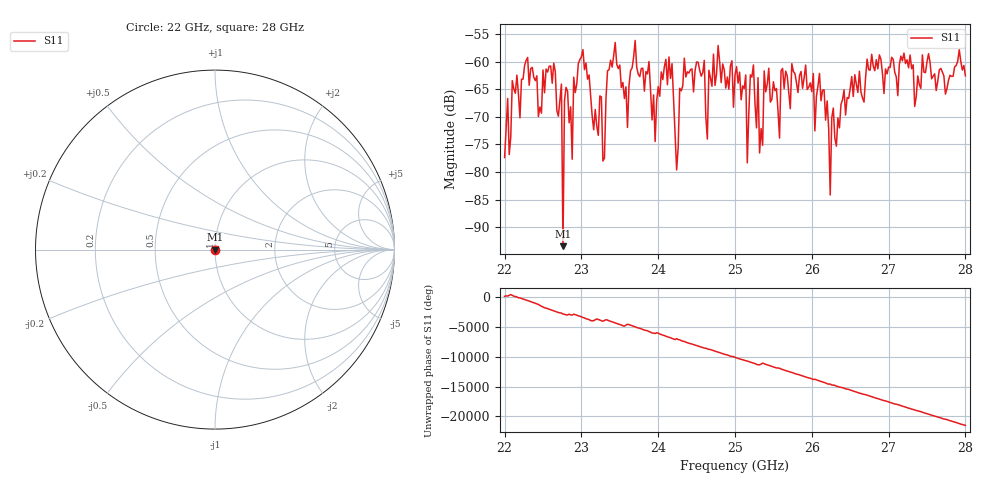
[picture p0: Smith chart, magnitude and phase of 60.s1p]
#  HZ  S  RI  R  50.00
! Rohde & Schwarz ZVA40 4Ports - Version 3.90 - 1145.1110k42 SN: 100403
! Date: 2023-10-04 11:20:29
! Measurement: S12
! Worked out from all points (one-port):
!   301 points, 22 GHz to 28 GHz, reference 50 ohm
!   lowest |S11| = -93.4 dB at 22.76 GHz (marker M1), VSWR 1.00, Z = 50 + j0.00195 ohm
!   |S11| at or under -10 dB: start of sweep to end of sweep
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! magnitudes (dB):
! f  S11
! 22 GHz  -77.4
! 22.64 GHz  -60.3
! 22.74 GHz  -64.1
! 22.76 GHz  -93.4
! 23.02 GHz  -57.8
! 23.28 GHz  -78.0
! 23.5 GHz  -60.6
! 23.88 GHz  -60.0
! 23.96 GHz  -74.5
! 24.14 GHz  -59.1
! 24.26 GHz  -75.5
! 24.34 GHz  -59.4
! 24.6 GHz  -59.8
! 24.64 GHz  -74.0
! 24.72 GHz  -58.6
! 25 GHz  -62.4
! 25.14 GHz  -62.4
! 25.16 GHz  -78.3
! 25.24 GHz  -60.6
! 25.32 GHz  -76.5
! 25.38 GHz  -61.7
! 25.58 GHz  -73.8
! 25.76 GHz  -61.8
! 26.1 GHz  -62.1
! 26.24 GHz  -84.1
! 26.5 GHz  -64.9
! 27.26 GHz  -61.1
! 28 GHz  -62.6
